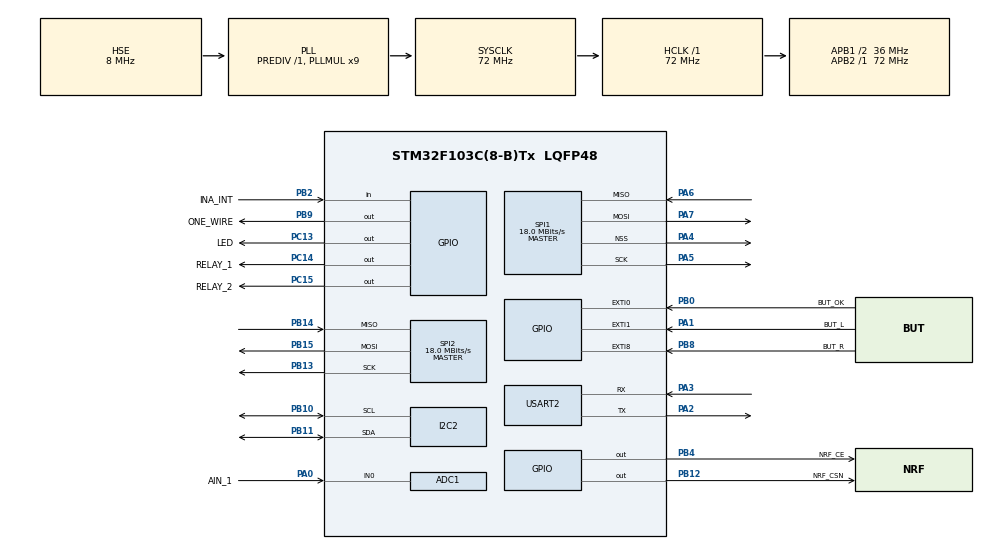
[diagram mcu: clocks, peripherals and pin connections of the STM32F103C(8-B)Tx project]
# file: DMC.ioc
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ADC1.Channel-2\#ChannelRegularConversion=ADC_CHANNEL_0
ADC1.NbrOfConversionFlag=1
ADC1.Rank-2\#ChannelRegularConversion=1
ADC1.SamplingTime-2\#ChannelRegularConversion=ADC_SAMPLETIME_1CYCLE_5
ADC1.master=1
FREERTOS.BinarySemaphores01=Spi1TxBinarySem,Dynamic,NULL;Spi2TxBinarySem,Dynamic,NULL
FREERTOS.Queues01=QueueGPIORC,1,uint16_t,0,Dynamic,NULL,NULL;QueueLog,16,uint16_t,0,Dynamic,NULL,NULL;QueueInaTx,1,ina_data_t,0,Dynamic,NULL,NULL
FREERTOS.Tasks01=defaultTask,8,128,StartDefaultTask,Default,NULL,Dynamic,NULL,NULL;TaskNRF24,16,128,StartTaskNRF24,Default,NULL,Dynamic,NULL,NULL;TaskCore,16,128,StartTaskCore,Default,NULL,Dynamic,NULL,NULL;TaskINA226,8,128,StartTaskINA226,Default,NULL,Dynamic,NULL,NULL;TaskLog,8,128,StartTaskLog,Default,NULL,Dynamic,NULL,NULL
FREERTOS.configTOTAL_HEAP_SIZE=8192
FREERTOS.configUSE_IDLE_HOOK=1
FREERTOS.configUSE_TICKLESS_IDLE=1
Mcu.Family=STM32F1
Mcu.Name=STM32F103C(8-B)Tx
Mcu.Package=LQFP48
NVIC.EXTI0_IRQn=true\:5\:0\:false\:false\:true\:true\:true\:true\:true
NVIC.EXTI1_IRQn=true\:5\:0\:false\:false\:true\:true\:true\:true\:true
NVIC.EXTI9_5_IRQn=true\:5\:0\:false\:false\:true\:true\:true\:true\:true
NVIC.PriorityGroup=NVIC_PRIORITYGROUP_4
NVIC.SPI2_IRQn=true\:5\:0\:false\:false\:true\:true\:true\:true\:true
NVIC.TIM1_TRG_COM_IRQn=true\:5\:0\:false\:false\:true\:true\:true\:true\:true
NVIC.TIM2_IRQn=true\:5\:0\:false\:false\:true\:true\:true\:true\:true
NVIC.TIM4_IRQn=true\:15\:0\:false\:false\:true\:false\:false\:true\:true
NVIC.TimeBase=TIM4_IRQn
NVIC.TimeBaseIP=TIM4
PA0-WKUP.GPIO_Label=AIN_1
PA0-WKUP.Signal=ADCx_IN0
PA1.GPIO_Label=BUT_L
PA1.GPIO_ModeDefaultEXTI=GPIO_MODE_IT_RISING_FALLING
PA1.Signal=GPXTI1
PA13.Mode=Trace_Asynchronous_SW
PA13.Signal=SYS_JTMS-SWDIO
PA14.Mode=Trace_Asynchronous_SW
PA14.Signal=SYS_JTCK-SWCLK
PA2.Mode=Asynchronous
PA2.Signal=USART2_TX
PA3.Mode=Asynchronous
PA3.Signal=USART2_RX
PA4.Mode=NSS_Signal_Hard_Output
PA4.Signal=SPI1_NSS
PA5.Mode=Full_Duplex_Master
PA5.Signal=SPI1_SCK
PA6.Mode=Full_Duplex_Master
PA6.Signal=SPI1_MISO
PA7.Mode=Full_Duplex_Master
PA7.Signal=SPI1_MOSI
PB0.GPIO_Label=BUT_OK
PB0.GPIO_ModeDefaultEXTI=GPIO_MODE_IT_RISING_FALLING
PB0.Signal=GPXTI0
PB10.Mode=I2C
PB10.Signal=I2C2_SCL
PB11.Mode=I2C
PB11.Signal=I2C2_SDA
PB12.GPIO_Label=NRF_CSN
PB12.Signal=GPIO_Output
PB13.Mode=Full_Duplex_Master
PB13.Signal=SPI2_SCK
PB14.Mode=Full_Duplex_Master
PB14.Signal=SPI2_MISO
PB15.Mode=Full_Duplex_Master
PB15.Signal=SPI2_MOSI
PB2.GPIO_Label=INA_INT
PB2.Signal=GPIO_Input
PB3.Mode=Trace_Asynchronous_SW
PB3.Signal=SYS_JTDO-TRACESWO
PB4.GPIO_Label=NRF_CE
PB4.Signal=GPIO_Output
PB8.GPIO_Label=BUT_R
PB8.GPIO_ModeDefaultEXTI=GPIO_MODE_IT_RISING_FALLING
PB8.Signal=GPXTI8
PB9.GPIO_Label=ONE_WIRE
PB9.Signal=GPIO_Output
PC13-TAMPER-RTC.GPIO_Label=LED
PC13-TAMPER-RTC.Signal=GPIO_Output
PC14-OSC32_IN.GPIO_Label=RELAY_1
PC14-OSC32_IN.Signal=GPIO_Output
PC15-OSC32_OUT.GPIO_Label=RELAY_2
PC15-OSC32_OUT.Signal=GPIO_Output
PD0-OSC_IN.Mode=HSE-External-Oscillator
PD0-OSC_IN.Signal=RCC_OSC_IN
PD1-OSC_OUT.Mode=HSE-External-Oscillator
PD1-OSC_OUT.Signal=RCC_OSC_OUT
ProjectManager.HeapSize=0x200
ProjectManager.StackSize=0x400
ProjectManager.TargetToolchain=MDK-ARM V5.32
RCC.ADCPresc=RCC_ADCPCLK2_DIV6
RCC.AHBFreq_Value=72000000
RCC.APB1CLKDivider=RCC_HCLK_DIV2
RCC.APB1Freq_Value=36000000
RCC.APB1TimFreq_Value=72000000
RCC.APB2Freq_Value=72000000
RCC.APB2TimFreq_Value=72000000
RCC.HCLKFreq_Value=72000000
RCC.PLLMUL=RCC_PLL_MUL9
RCC.PLLSourceVirtual=RCC_PLLSOURCE_HSE
RCC.SYSCLKFreq_VALUE=72000000
RCC.SYSCLKSource=RCC_SYSCLKSOURCE_PLLCLK
RCC.USBFreq_Value=72000000
SH.ADCx_IN0.0=ADC1_IN0,IN0
SPI1.BaudRatePrescaler=SPI_BAUDRATEPRESCALER_4
SPI1.CalculateBaudRate=18.0 MBits/s
SPI1.Direction=SPI_DIRECTION_2LINES
SPI1.Mode=SPI_MODE_MASTER
SPI1.VirtualNSS=VM_NSSHARD
SPI1.VirtualType=VM_MASTER
SPI2.BaudRatePrescaler=SPI_BAUDRATEPRESCALER_2
SPI2.CalculateBaudRate=18.0 MBits/s
SPI2.Direction=SPI_DIRECTION_2LINES
SPI2.Mode=SPI_MODE_MASTER
SPI2.VirtualType=VM_MASTER
TIM1.AutoReloadPreload=TIM_AUTORELOAD_PRELOAD_DISABLE
TIM1.Period=200-1
TIM1.Prescaler=36000-1
TIM1.TIM_MasterSlaveMode=TIM_MASTERSLAVEMODE_DISABLE
TIM2.Period=1000
TIM2.Prescaler=7200
USART2.VirtualMode=VM_ASYNC
VP_FREERTOS_VS_CMSIS_V2.Mode=CMSIS_V2
VP_SYS_VS_tim4.Mode=TIM4
VP_TIM1_VS_ClockSourceINT.Mode=Internal
VP_TIM2_VS_ClockSourceINT.Mode=Internal
board=custom

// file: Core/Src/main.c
/* USER CODE BEGIN Header */
/**
  ******************************************************************************
  * @file           : main.c
  * @brief          : Main program body
	* @author					: polyakovyg
	* @revision				: 01.08.02
  ******************************************************************************
  * @attention
  *
  * Copyright (c) 2023 STMicroelectronics.
  * All rights reserved.
  *
  * This software is licensed under terms that can be found in the LICENSE file
  * in the root directory of this software component.
  * If no LICENSE file comes with this software, it is provided AS-IS.
  *
  ******************************************************************************
  */
/* USER CODE END Header */
#include "main.h"
#include "cmsis_os.h"

/* USER CODE BEGIN Includes */
#include "semphr.h"
#include "delayus.h"
#include "task.h"
#include "ds18b20.h"
#include "math.h"
#include "stdio.h"
/* USER CODE END Includes */

ADC_HandleTypeDef hadc1;

I2C_HandleTypeDef hi2c2;

SPI_HandleTypeDef hspi1;
SPI_HandleTypeDef hspi2;

TIM_HandleTypeDef htim1;
TIM_HandleTypeDef htim2;

UART_HandleTypeDef huart2;

/* Definitions for defaultTask */
osThreadId_t defaultTaskHandle;
const osThreadAttr_t defaultTask_attributes = {
  .name = "defaultTask",
  .stack_size = 128 * 4,
  .priority = (osPriority_t) osPriorityLow,
};
/* Definitions for TaskNRF24 */
osThreadId_t TaskNRF24Handle;
const osThreadAttr_t TaskNRF24_attributes = {
  .name = "TaskNRF24",
  .stack_size = 128 * 4,
  .priority = (osPriority_t) osPriorityBelowNormal,
};
/* Definitions for TaskCore */
osThreadId_t TaskCoreHandle;
const osThreadAttr_t TaskCore_attributes = {
  .name = "TaskCore",
  .stack_size = 128 * 4,
  .priority = (osPriority_t) osPriorityBelowNormal,
};
/* Definitions for TaskINA226 */
osThreadId_t TaskINA226Handle;
const osThreadAttr_t TaskINA226_attributes = {
  .name = "TaskINA226",
  .stack_size = 128 * 4,
  .priority = (osPriority_t) osPriorityLow,
};
/* Definitions for TaskLog */
osThreadId_t TaskLogHandle;
const osThreadAttr_t TaskLog_attributes = {
  .name = "TaskLog",
  .stack_size = 128 * 4,
  .priority = (osPriority_t) osPriorityLow,
};
/* Definitions for QueueGPIORC */
osMessageQueueId_t QueueGPIORCHandle;
const osMessageQueueAttr_t QueueGPIORC_attributes = {
  .name = "QueueGPIORC"
};
/* Definitions for QueueLog */
osMessageQueueId_t QueueLogHandle;
const osMessageQueueAttr_t QueueLog_attributes = {
  .name = "QueueLog"
};
/* Definitions for QueueInaTx */
osMessageQueueId_t QueueInaTxHandle;
const osMessageQueueAttr_t QueueInaTx_attributes = {
  .name = "QueueInaTx"
};
/* Definitions for Spi1TxBinarySem */
osSemaphoreId_t Spi1TxBinarySemHandle;
const osSemaphoreAttr_t Spi1TxBinarySem_attributes = {
  .name = "Spi1TxBinarySem"
};
/* Definitions for Spi2TxBinarySem */
osSemaphoreId_t Spi2TxBinarySemHandle;
const osSemaphoreAttr_t Spi2TxBinarySem_attributes = {
  .name = "Spi2TxBinarySem"
};

void SystemClock_Config(void);
static void MX_GPIO_Init(void);
static void MX_SPI2_Init(void);
static void MX_TIM1_Init(void);
static void MX_SPI1_Init(void);
static void MX_USART2_UART_Init(void);
static void MX_ADC1_Init(void);
static void MX_TIM2_Init(void);
static void MX_I2C2_Init(void);
void StartDefaultTask(void *argument);
void StartTaskNRF24(void *argument);
void StartTaskCore(void *argument);
void StartTaskINA226(void *argument);
void StartTaskLog(void *argument);

/* USER CODE BEGIN 0 */
//void vSetUpDebug(void);

#define ITM_Port8(n)    (*((volatile unsigned char *)(0xE0000000+4*n)))
#define ITM_Port16(n)   (*((volatile unsigned short*)(0xE0000000+4*n)))
#define ITM_Port32(n)   (*((volatile unsigned long *)(0xE0000000+4*n)))
#define DEMCR           (*((volatile unsigned long *)(0xE000EDFC)))
#define TRCENA          0x01000000

struct __FILE { int handle;
	// Add whatever you need here
	};
FILE __stdout;
FILE __stdin;

int fputc(int ch, FILE *f) {
   if (DEMCR & TRCENA) {
		while (ITM_Port32(0) == 0){};
    ITM_Port8(0) = ch;
  }
  return(ch);
}

void HAL_SPI_TxRxCpltCallback(SPI_HandleTypeDef *hspi) {
	BaseType_t xHigherPriorityTaskWoken = pdTRUE;

	if( HAL_SPI_GetError( hspi ) ) {
		assert_param( 1u );
	}

	else if( hspi == &hspi2 ) {
		#if( _SPI_SEMAPHORE_ == 1 )
			xSemaphoreGiveFromISR( Spi2TxBinarySemHandle , &xHigherPriorityTaskWoken );
		#elif( _SPI_NOTIFICATION_ == 1 )
			xHigherPriorityTaskWoken = pdFALSE;
			vTaskNotifyGiveFromISR(TaskNRF24Handle , &xHigherPriorityTaskWoken);
		#endif // _SPI_SEMAPHORE_ _SPI_NOTIFICATION_
			portYIELD_FROM_ISR( xHigherPriorityTaskWoken );
	}
}

void HAL_SPI_TxCpltCallback(SPI_HandleTypeDef *hspi) {
	BaseType_t xHigherPriorityTaskWoken = pdTRUE;

	if( HAL_SPI_GetError( hspi ) ) {
		assert_param( 1u );
	}

	else if( hspi == &hspi2 ) {
		#if( _SPI_SEMAPHORE_ == 1 )
			xSemaphoreGiveFromISR( Spi2TxBinarySemHandle , &xHigherPriorityTaskWoken );
		#elif( _SPI_NOTIFICATION_ == 1 )
			xHigherPriorityTaskWoken = pdFALSE;
			vTaskNotifyGiveFromISR(TaskNRF24Handle , &xHigherPriorityTaskWoken);
		#endif // _SPI_SEMAPHORE_ _SPI_NOTIFICATION_
			portYIELD_FROM_ISR( xHigherPriorityTaskWoken );
	}
}

void HAL_SPI_ErrorCallback(SPI_HandleTypeDef *hspi) {
	if( HAL_SPI_GetError( hspi ) ) {
		assert_param( 1u );
	}
}

//DS18B20_INIT();

/* USER CODE END 0 */

int main(void)
{

  /* MCU Configuration--------------------------------------------------------*/

  /* Reset of all peripherals, Initializes the Flash interface and the Systick. */
  HAL_Init();

  /* USER CODE BEGIN Init */
	void vInitDebug();
  /* USER CODE END Init */

  /* Configure the system clock */
  SystemClock_Config();

  /* Initialize all configured peripherals */
  MX_GPIO_Init();
  MX_SPI2_Init();
  MX_TIM1_Init();
  MX_SPI1_Init();
  MX_USART2_UART_Init();
  MX_ADC1_Init();
  MX_TIM2_Init();
  MX_I2C2_Init();

  /* Init scheduler */
  osKernelInitialize();

  /* Create the semaphores(s) */
  /* creation of Spi1TxBinarySem */
  Spi1TxBinarySemHandle = osSemaphoreNew(1, 0, &Spi1TxBinarySem_attributes);

  /* creation of Spi2TxBinarySem */
  Spi2TxBinarySemHandle = osSemaphoreNew(1, 0, &Spi2TxBinarySem_attributes);

  /* Create the queue(s) */
  /* creation of QueueGPIORC */
  QueueGPIORCHandle = osMessageQueueNew (1, sizeof(uint16_t), &QueueGPIORC_attributes);

  /* creation of QueueLog */
  QueueLogHandle = osMessageQueueNew (16, sizeof(uint16_t), &QueueLog_attributes);

  /* creation of QueueInaTx */
  QueueInaTxHandle = osMessageQueueNew (1, sizeof(ina_data_t), &QueueInaTx_attributes);

  /* Create the thread(s) */
  /* creation of defaultTask */
  defaultTaskHandle = osThreadNew(StartDefaultTask, NULL, &defaultTask_attributes);

  /* creation of TaskNRF24 */
  TaskNRF24Handle = osThreadNew(StartTaskNRF24, NULL, &TaskNRF24_attributes);

  /* creation of TaskCore */
  TaskCoreHandle = osThreadNew(StartTaskCore, NULL, &TaskCore_attributes);

  /* creation of TaskINA226 */
  TaskINA226Handle = osThreadNew(StartTaskINA226, NULL, &TaskINA226_attributes);

  /* creation of TaskLog */
  TaskLogHandle = osThreadNew(StartTaskLog, NULL, &TaskLog_attributes);

  /* Start scheduler */
  osKernelStart();

  /* We should never get here as control is now taken by the scheduler */
  /* Infinite loop */
  while (1)
  {

  }
}

void SystemClock_Config(void)
{
  RCC_OscInitTypeDef RCC_OscInitStruct = {0};
  RCC_ClkInitTypeDef RCC_ClkInitStruct = {0};
  RCC_PeriphCLKInitTypeDef PeriphClkInit = {0};

  /** Initializes the RCC Oscillators according to the specified parameters
  * in the RCC_OscInitTypeDef structure.
  */
  RCC_OscInitStruct.OscillatorType = RCC_OSCILLATORTYPE_HSE;
  RCC_OscInitStruct.HSEState = RCC_HSE_ON;
  RCC_OscInitStruct.HSEPredivValue = RCC_HSE_PREDIV_DIV1;
  RCC_OscInitStruct.HSIState = RCC_HSI_ON;
  RCC_OscInitStruct.PLL.PLLState = RCC_PLL_ON;
  RCC_OscInitStruct.PLL.PLLSource = RCC_PLLSOURCE_HSE;
  RCC_OscInitStruct.PLL.PLLMUL = RCC_PLL_MUL9;
  if (HAL_RCC_OscConfig(&RCC_OscInitStruct) != HAL_OK)
  {
    Error_Handler();
  }

  /** Initializes the CPU, AHB and APB buses clocks
  */
  RCC_ClkInitStruct.ClockType = RCC_CLOCKTYPE_HCLK|RCC_CLOCKTYPE_SYSCLK
                              |RCC_CLOCKTYPE_PCLK1|RCC_CLOCKTYPE_PCLK2;
  RCC_ClkInitStruct.SYSCLKSource = RCC_SYSCLKSOURCE_PLLCLK;
  RCC_ClkInitStruct.AHBCLKDivider = RCC_SYSCLK_DIV1;
  RCC_ClkInitStruct.APB1CLKDivider = RCC_HCLK_DIV2;
  RCC_ClkInitStruct.APB2CLKDivider = RCC_HCLK_DIV1;

  if (HAL_RCC_ClockConfig(&RCC_ClkInitStruct, FLASH_LATENCY_2) != HAL_OK)
  {
    Error_Handler();
  }
  PeriphClkInit.PeriphClockSelection = RCC_PERIPHCLK_ADC;
  PeriphClkInit.AdcClockSelection = RCC_ADCPCLK2_DIV6;
  if (HAL_RCCEx_PeriphCLKConfig(&PeriphClkInit) != HAL_OK)
  {
    Error_Handler();
  }
}

static void MX_ADC1_Init(void)
{

  ADC_ChannelConfTypeDef sConfig = {0};

  /** Common config
  */
  hadc1.Instance = ADC1;
  hadc1.Init.ScanConvMode = ADC_SCAN_DISABLE;
  hadc1.Init.ContinuousConvMode = DISABLE;
  hadc1.Init.DiscontinuousConvMode = DISABLE;
  hadc1.Init.ExternalTrigConv = ADC_SOFTWARE_START;
  hadc1.Init.DataAlign = ADC_DATAALIGN_RIGHT;
  hadc1.Init.NbrOfConversion = 1;
  if (HAL_ADC_Init(&hadc1) != HAL_OK)
  {
    Error_Handler();
  }

  /** Configure Regular Channel
  */
  sConfig.Channel = ADC_CHANNEL_0;
  sConfig.Rank = ADC_REGULAR_RANK_1;
  sConfig.SamplingTime = ADC_SAMPLETIME_1CYCLE_5;
  if (HAL_ADC_ConfigChannel(&hadc1, &sConfig) != HAL_OK)
  {
    Error_Handler();
  }

}

static void MX_I2C2_Init(void)
{

  hi2c2.Instance = I2C2;
  hi2c2.Init.ClockSpeed = 100000;
  hi2c2.Init.DutyCycle = I2C_DUTYCYCLE_2;
  hi2c2.Init.OwnAddress1 = 0;
  hi2c2.Init.AddressingMode = I2C_ADDRESSINGMODE_7BIT;
  hi2c2.Init.DualAddressMode = I2C_DUALADDRESS_DISABLE;
  hi2c2.Init.OwnAddress2 = 0;
  hi2c2.Init.GeneralCallMode = I2C_GENERALCALL_DISABLE;
  hi2c2.Init.NoStretchMode = I2C_NOSTRETCH_DISABLE;
  if (HAL_I2C_Init(&hi2c2) != HAL_OK)
  {
    Error_Handler();
  }

}

static void MX_SPI1_Init(void)
{

  /* SPI1 parameter configuration*/
  hspi1.Instance = SPI1;
  hspi1.Init.Mode = SPI_MODE_MASTER;
  hspi1.Init.Direction = SPI_DIRECTION_2LINES;
  hspi1.Init.DataSize = SPI_DATASIZE_8BIT;
  hspi1.Init.CLKPolarity = SPI_POLARITY_LOW;
  hspi1.Init.CLKPhase = SPI_PHASE_1EDGE;
  hspi1.Init.NSS = SPI_NSS_HARD_OUTPUT;
  hspi1.Init.BaudRatePrescaler = SPI_BAUDRATEPRESCALER_4;
  hspi1.Init.FirstBit = SPI_FIRSTBIT_MSB;
  hspi1.Init.TIMode = SPI_TIMODE_DISABLE;
  hspi1.Init.CRCCalculation = SPI_CRCCALCULATION_DISABLE;
  hspi1.Init.CRCPolynomial = 10;
  if (HAL_SPI_Init(&hspi1) != HAL_OK)
  {
    Error_Handler();
  }

}

static void MX_SPI2_Init(void)
{

  /* SPI2 parameter configuration*/
  hspi2.Instance = SPI2;
  hspi2.Init.Mode = SPI_MODE_MASTER;
  hspi2.Init.Direction = SPI_DIRECTION_2LINES;
  hspi2.Init.DataSize = SPI_DATASIZE_8BIT;
  hspi2.Init.CLKPolarity = SPI_POLARITY_LOW;
  hspi2.Init.CLKPhase = SPI_PHASE_1EDGE;
  hspi2.Init.NSS = SPI_NSS_SOFT;
  hspi2.Init.BaudRatePrescaler = SPI_BAUDRATEPRESCALER_2;
  hspi2.Init.FirstBit = SPI_FIRSTBIT_MSB;
  hspi2.Init.TIMode = SPI_TIMODE_DISABLE;
  hspi2.Init.CRCCalculation = SPI_CRCCALCULATION_DISABLE;
  hspi2.Init.CRCPolynomial = 10;
  if (HAL_SPI_Init(&hspi2) != HAL_OK)
  {
    Error_Handler();
  }

}

static void MX_TIM1_Init(void)
{

  TIM_ClockConfigTypeDef sClockSourceConfig = {0};
  TIM_MasterConfigTypeDef sMasterConfig = {0};

  htim1.Instance = TIM1;
  htim1.Init.Prescaler = 36000-1;
  htim1.Init.CounterMode = TIM_COUNTERMODE_UP;
  htim1.Init.Period = 200-1;
  htim1.Init.ClockDivision = TIM_CLOCKDIVISION_DIV1;
  htim1.Init.RepetitionCounter = 0;
  htim1.Init.AutoReloadPreload = TIM_AUTORELOAD_PRELOAD_DISABLE;
  if (HAL_TIM_Base_Init(&htim1) != HAL_OK)
  {
    Error_Handler();
  }
  sClockSourceConfig.ClockSource = TIM_CLOCKSOURCE_INTERNAL;
  if (HAL_TIM_ConfigClockSource(&htim1, &sClockSourceConfig) != HAL_OK)
  {
    Error_Handler();
  }
  sMasterConfig.MasterOutputTrigger = TIM_TRGO_RESET;
  sMasterConfig.MasterSlaveMode = TIM_MASTERSLAVEMODE_DISABLE;
  if (HAL_TIMEx_MasterConfigSynchronization(&htim1, &sMasterConfig) != HAL_OK)
  {
    Error_Handler();
  }

}

static void MX_TIM2_Init(void)
{

  TIM_ClockConfigTypeDef sClockSourceConfig = {0};
  TIM_MasterConfigTypeDef sMasterConfig = {0};

  htim2.Instance = TIM2;
  htim2.Init.Prescaler = 7200;
  htim2.Init.CounterMode = TIM_COUNTERMODE_UP;
  htim2.Init.Period = 1000;
  htim2.Init.ClockDivision = TIM_CLOCKDIVISION_DIV1;
  htim2.Init.AutoReloadPreload = TIM_AUTORELOAD_PRELOAD_DISABLE;
  if (HAL_TIM_Base_Init(&htim2) != HAL_OK)
  {
    Error_Handler();
  }
  sClockSourceConfig.ClockSource = TIM_CLOCKSOURCE_INTERNAL;
  if (HAL_TIM_ConfigClockSource(&htim2, &sClockSourceConfig) != HAL_OK)
  {
    Error_Handler();
  }
  sMasterConfig.MasterOutputTrigger = TIM_TRGO_RESET;
  sMasterConfig.MasterSlaveMode = TIM_MASTERSLAVEMODE_DISABLE;
  if (HAL_TIMEx_MasterConfigSynchronization(&htim2, &sMasterConfig) != HAL_OK)
  {
    Error_Handler();
  }

}

static void MX_USART2_UART_Init(void)
{

  huart2.Instance = USART2;
  huart2.Init.BaudRate = 115200;
  huart2.Init.WordLength = UART_WORDLENGTH_8B;
  huart2.Init.StopBits = UART_STOPBITS_1;
  huart2.Init.Parity = UART_PARITY_NONE;
  huart2.Init.Mode = UART_MODE_TX_RX;
  huart2.Init.HwFlowCtl = UART_HWCONTROL_NONE;
  huart2.Init.OverSampling = UART_OVERSAMPLING_16;
  if (HAL_UART_Init(&huart2) != HAL_OK)
  {
    Error_Handler();
  }

}

static void MX_GPIO_Init(void)
{
  GPIO_InitTypeDef GPIO_InitStruct = {0};

  /* GPIO Ports Clock Enable */
  __HAL_RCC_GPIOC_CLK_ENABLE();
  __HAL_RCC_GPIOD_CLK_ENABLE();
  __HAL_RCC_GPIOA_CLK_ENABLE();
  __HAL_RCC_GPIOB_CLK_ENABLE();

  /*Configure GPIO pin Output Level */
  HAL_GPIO_WritePin(GPIOC, LED_Pin|RELAY_1_Pin|RELAY_2_Pin, GPIO_PIN_RESET);

  /*Configure GPIO pin Output Level */
  HAL_GPIO_WritePin(GPIOB, NRF_CSN_Pin|NRF_CE_Pin|ONE_WIRE_Pin, GPIO_PIN_RESET);

  /*Configure GPIO pins : LED_Pin RELAY_1_Pin RELAY_2_Pin */
  GPIO_InitStruct.Pin = LED_Pin|RELAY_1_Pin|RELAY_2_Pin;
  GPIO_InitStruct.Mode = GPIO_MODE_OUTPUT_PP;
  GPIO_InitStruct.Pull = GPIO_NOPULL;
  GPIO_InitStruct.Speed = GPIO_SPEED_FREQ_LOW;
  HAL_GPIO_Init(GPIOC, &GPIO_InitStruct);

  /*Configure GPIO pin : BUT_L_Pin */
  GPIO_InitStruct.Pin = BUT_L_Pin;
  GPIO_InitStruct.Mode = GPIO_MODE_IT_RISING_FALLING;
  GPIO_InitStruct.Pull = GPIO_NOPULL;
  HAL_GPIO_Init(BUT_L_GPIO_Port, &GPIO_InitStruct);

  /*Configure GPIO pins : BUT_OK_Pin BUT_R_Pin */
  GPIO_InitStruct.Pin = BUT_OK_Pin|BUT_R_Pin;
  GPIO_InitStruct.Mode = GPIO_MODE_IT_RISING_FALLING;
  GPIO_InitStruct.Pull = GPIO_NOPULL;
  HAL_GPIO_Init(GPIOB, &GPIO_InitStruct);

  /*Configure GPIO pin : INA_INT_Pin */
  GPIO_InitStruct.Pin = INA_INT_Pin;
  GPIO_InitStruct.Mode = GPIO_MODE_INPUT;
  GPIO_InitStruct.Pull = GPIO_NOPULL;
  HAL_GPIO_Init(INA_INT_GPIO_Port, &GPIO_InitStruct);

  /*Configure GPIO pins : NRF_CSN_Pin NRF_CE_Pin ONE_WIRE_Pin */
  GPIO_InitStruct.Pin = NRF_CSN_Pin|NRF_CE_Pin|ONE_WIRE_Pin;
  GPIO_InitStruct.Mode = GPIO_MODE_OUTPUT_PP;
  GPIO_InitStruct.Pull = GPIO_NOPULL;
  GPIO_InitStruct.Speed = GPIO_SPEED_FREQ_LOW;
  HAL_GPIO_Init(GPIOB, &GPIO_InitStruct);

  /* EXTI interrupt init*/
  HAL_NVIC_SetPriority(EXTI0_IRQn, 5, 0);
  HAL_NVIC_EnableIRQ(EXTI0_IRQn);

  HAL_NVIC_SetPriority(EXTI1_IRQn, 5, 0);
  HAL_NVIC_EnableIRQ(EXTI1_IRQn);

  HAL_NVIC_SetPriority(EXTI9_5_IRQn, 5, 0);
  HAL_NVIC_EnableIRQ(EXTI9_5_IRQn);

}

void StartDefaultTask(void *argument)
{
  /* USER CODE BEGIN 5 */
  /* Infinite loop */
  for(;;)
  {
		for (uint32_t x = 0; x < 0x0000FFFF; x++) __NOP();
    //osDelay(1);
  }
  /* USER CODE END 5 */
}

void StartTaskNRF24(void *argument)
{
  /* USER CODE BEGIN StartTaskNRF24 */
	uint8_t counter = 0;

	uint8_t RxAddress[] = {0x04,0xD5,0xC6,0xB7,0xA8};
	uint8_t TxAddress[] = {0xE8,0xD7,0xC6,0xB5,0xA4};

	nrf_data_t NrfTxData = {0,};
	uint8_t NrfRxData[8] = {0,};

	#ifdef DS18B20_TASK
	extern osMessageQueueId_t QueueDS18B20Handle;
	Ds18b20Sensor_t TemperatureData;
	#endif //DS18B20_TASK

	#ifdef INA226_TASK
	ina_data_t InaData = {0,};
	#endif //INA226_TASK

  /* Infinite loop */
  for(;;)
  {
		NRF24_RxMode(RxAddress, 10);

		//---GPIO_RC--------------------------------------------------------//
		#ifdef GPIO_RC
			if((uint8_t)uxQueueMessagesWaiting(QueueGPIORCHandle))
			{
				if (isDataAvailable(2) == 1)
				{
					for(counter = 0; counter < 2; counter++)
					{
						NRF24_Receive(&NrfRxData[counter]);
					}

					if(NrfTxData.Data[0] == NRF_GPIO_RELAY)
					{
						HAL_GPIO_WritePin(RELAY_1_GPIO_Port, RELAY_1_Pin, (GPIO_PinState)(NrfRxData[1]));
						HAL_GPIO_WritePin(RELAY_2_GPIO_Port, RELAY_2_Pin, (GPIO_PinState)(NrfRxData[2]));
					}
				}
			}
		#endif //GPIO_RC
		//---end GPIO_RC--------------------------------------------------------//

		NRF24_TxMode(TxAddress, 10);

		//---DS18B20--------------------------------------------------------//
		#ifdef DS18B20_TASK
			if((uint8_t)uxQueueMessagesWaiting(QueueDS18B20Handle))
			{
				xQueueReceive(QueueDS18B20Handle, &TemperatureData, pdMS_TO_TICKS(100));
				if(TemperatureData.DataIsValid)
					{
					NrfTxData.Data[0] = NRF_TEMP_SENSOR;
					NrfTxData.Data[1] = TemperatureData.Temperature;

					//printf( "DS18B20 ID: %x  ", TemperatureData.Address );
					//printf( "Temperature: %5.2f C\n", TemperatureData.Temperature );

					if (xQueueSend(QueueLogHandle, &NrfTxData.Data[1], portMAX_DELAY) != pdPASS)
					{
						assert_param( 1u );
					}

					for(counter = 0; counter < 2; counter++)
					{
						NRF24_Transmit(&NrfTxData.Data[counter]);
					}
				} else 	{
					printf( "DS18B20 sensor lost" );
				}
			}
		#endif //DS18B20_TASK
		//---end DS18B20--------------------------------------------------------//

		//---BUTTONS--------------------------------------------------------//
		#ifdef BUTTONS_TASK
			if((uint8_t)uxQueueMessagesWaiting(QueueButtonHandle))
			{
				xQueueReceive(QueueButtonHandle, &buttonState, pdMS_TO_TICKS(100));

				NrfTxData.Data[0] = NRF_BUTTONS;
				for(counter = 1; counter < 4; counter++)
				{
					NrfTxData.Data[i] = buttonState[i];
				}

				if (xQueueSend(QueueLogHandle, NrfTxData, portMAX_DELAY) != pdPASS)
				{
					assert_param( 1u );
				}

				for(counter = 0; counter < 4; counter++)
				{
					NRF24_Transmit(NrfTxData.Data[counter]);
				}
			}
		#endif //BUTTONS_TASK
		//---end BUTTONS--------------------------------------------------------//

		//---end INA226--------------------------------------------------------//
		#ifdef INA226_TASK
			if((uint8_t)uxQueueMessagesWaiting(QueueInaTxHandle))
			{
				xQueueReceive(QueueInaTxHandle, &InaData, pdMS_TO_TICKS(100));

				NrfTxData.Data[0] = NRF_CURRENT_SENSOR;
				NrfTxData.Data[1] = InaData.BusVoltage;
				NrfTxData.Data[2] = InaData.Current;
				NrfTxData.Data[3] = InaData.Voltage;
				NrfTxData.Data[4] = InaData.Power;

				if (xQueueSend(QueueLogHandle, &NrfTxData.Data[4], portMAX_DELAY) != pdPASS)
				{
					assert_param( 1u );
				}

				for(counter = 0; counter < 5; counter++)
				{
					NRF24_Transmit(&NrfTxData.Data[counter]);
				}
			}
		#endif //INA226_TASK
		//---end INA226--------------------------------------------------------//

    osDelay(1000);
  }
  /* USER CODE END StartTaskNRF24 */
}

void StartTaskCore(void *argument)
{
  /* USER CODE BEGIN StartTaskCore */

	#ifdef BUTTON_TASK
		BUTTON_Init();
		uint16_t GPIO_Pin = 0;
		uint8_t button_state = 0;

		HAL_TIM_Base_Start_IT(@htim2);
	#endif //BUTTON_TASK

  /* Infinite loop */
  for(;;)
  {
		//---BUTTON--------------------------------------------------------//
		#ifdef BUTTON_TASK
			if((uint8_t)uxQueueMessagesWaiting(QueueButtonHandle))
			{
				xQueueReceive(QueueButtonHandle, &button_action, pdMS_TO_TICKS(100));
				if (button_action.left == BUTTON_SHORT_PRESS)
				{
					//do
				}
				if (button_action.left == BUTTON_LONG_PRESS || left_button_action == BUTTON_VERY_LONG_PRESS)
				{
					//do
				}

				if (button_action.right == BUTTON_SHORT_PRESS)
				{
					//do
				}
				if (button_action.right == BUTTON_LONG_PRESS || right_button_action == BUTTON_VERY_LONG_PRESS)
				{
					//do
				}

				if (button_action.ok == BUTTON_SHORT_PRESS)
				{
					//do nothing
				}
				if (button_action.ok == BUTTON_LONG_PRESS || ok_button_action == BUTTON_VERY_LONG_PRESS)
				{
					//do nothing
				}

				BUTTON_ResetActions();

				if (xQueueSend(QueueNrfTransmitHandle, button_action, pdMS_TO_TICKS(100)) != pdPASS)
				{
					assert_param( 1u );
				}
			}
		#endif //BUTTON_TASK
		//---end BUTTON--------------------------------------------------------//

    osDelay(100);
  }
  /* USER CODE END StartTaskCore */
}

void StartTaskINA226(void *argument)
{
  /* USER CODE BEGIN StartTaskINA226 */
	ina_data_t InaData = {0,};
	INA226_setConfig(&INA226_I2C, INA226_ADDRESS, INA226_MODE_CONT_SHUNT_AND_BUS | INA226_VBUS_140uS | INA226_VBUS_140uS | INA226_AVG_1024);

  /* Infinite loop */
  for(;;)
  {
		InaData.BusVoltage = INA226_getBusV(&hi2c2, INA226_ADDRESS);
		InaData.Current = INA226_getCurrent(&hi2c2, INA226_ADDRESS);
		InaData.Voltage = INA226_getShuntV(&hi2c2, INA226_ADDRESS);
		InaData.Power = INA226_getPower(&hi2c2, INA226_ADDRESS);

		if ( InaData.BusVoltage > 1000.0F)
		{
			if (xQueueSend(QueueInaTxHandle, &InaData, pdMS_TO_TICKS(100)) != pdPASS)
				{
					assert_param( 1u );
				}
			//printf( "Voltage: %d V\n", InaData.BusVoltage );
		}
		else
		{
			printf( "INA is Not connected. \n");
		}
    osDelay(1000);
  }
  /* USER CODE END StartTaskINA226 */
}

void StartTaskLog(void *argument)
{
  /* USER CODE BEGIN StartTaskLog */
//	#ifdef FLASH_TASK
//	log_data_t LogData;
//	#endif //FLASH_TASK
  /* Infinite loop */
  for(;;)
  {
//		#ifdef FLASH_TASK
//			xQueueReceive(QueueLogHandle, &LogData, portMAX_DELAY);
//			//HAL_SPI_Transmit(&FLASH_SPI, (uint8_t*)&LogData, 1, 100);
//			printf( "LogData: %d %s %d %d \n", LogData.LogType, LogData.Text, LogData.Date, LogData.Time);
//		#endif //FLASH_TASK

    osDelay(1000);
  }
  /* USER CODE END StartTaskLog */
}

void HAL_TIM_PeriodElapsedCallback(TIM_HandleTypeDef *htim)
{
  if (htim->Instance == TIM4) {
    HAL_IncTick();
  }
}

void Error_Handler(void)
{
  __disable_irq();
  while (1)
  {
  }
}

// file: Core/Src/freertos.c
/* USER CODE BEGIN Header */
/**
  ******************************************************************************
  * File Name          : freertos.c
  * Description        : Code for freertos applications
  ******************************************************************************
  * @attention
  *
  * Copyright (c) 2023 STMicroelectronics.
  * All rights reserved.
  *
  * This software is licensed under terms that can be found in the LICENSE file
  * in the root directory of this software component.
  * If no LICENSE file comes with this software, it is provided AS-IS.
  *
  ******************************************************************************
  */
/* USER CODE END Header */

#include "FreeRTOS.h"
#include "task.h"
#include "main.h"

/* Hook prototypes */
void vApplicationIdleHook(void);

/* USER CODE BEGIN 2 */
void vApplicationIdleHook( void )
{
   /* vApplicationIdleHook() will only be called if configUSE_IDLE_HOOK is set
   to 1 in FreeRTOSConfig.h. It will be called on each iteration of the idle
   task. It is essential that code added to this hook function never attempts
   to block in any way (for example, call xQueueReceive() with a block time
   specified, or call vTaskDelay()). If the application makes use of the
   vTaskDelete() API function (as this demo application does) then it is also
   important that vApplicationIdleHook() is permitted to return to its calling
   function, because it is the responsibility of the idle task to clean up
   memory allocated by the kernel to any task that has since been deleted. */
	//!functionIdleHook();
}
/* USER CODE END 2 */

/* USER CODE BEGIN PREPOSTSLEEP */
__weak void PreSleepProcessing(uint32_t *ulExpectedIdleTime)
{
/* place for user code */
}

__weak void PostSleepProcessing(uint32_t *ulExpectedIdleTime)
{
/* place for user code */
}
/* USER CODE END PREPOSTSLEEP */
